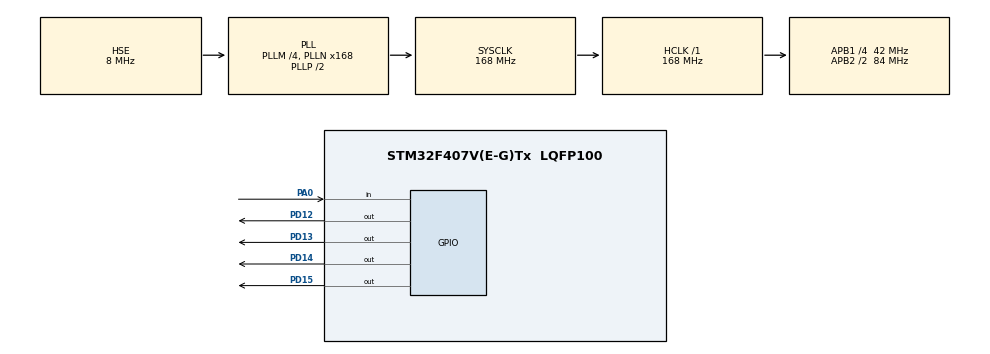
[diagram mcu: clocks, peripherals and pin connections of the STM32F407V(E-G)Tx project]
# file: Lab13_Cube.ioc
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Mcu.Family=STM32F4
Mcu.Name=STM32F407V(E-G)Tx
Mcu.Package=LQFP100
NVIC.PriorityGroup=NVIC_PRIORITYGROUP_4
PA0-WKUP.Signal=GPIO_Input
PD12.Signal=GPIO_Output
PD13.Signal=GPIO_Output
PD14.Signal=GPIO_Output
PD15.Signal=GPIO_Output
PH0-OSC_IN.Mode=HSE-External-Oscillator
PH0-OSC_IN.Signal=RCC_OSC_IN
PH1-OSC_OUT.Mode=HSE-External-Oscillator
PH1-OSC_OUT.Signal=RCC_OSC_OUT
ProjectManager.HeapSize=0x200
ProjectManager.StackSize=0x400
ProjectManager.TargetToolchain=MDK-ARM V4
RCC.48MHZClocksFreq_Value=48000000
RCC.AHBFreq_Value=168000000
RCC.APB1CLKDivider=RCC_HCLK_DIV4
RCC.APB1Freq_Value=42000000
RCC.APB1TimFreq_Value=84000000
RCC.APB2CLKDivider=RCC_HCLK_DIV2
RCC.APB2Freq_Value=84000000
RCC.APB2TimFreq_Value=168000000
RCC.CortexFreq_Value=168000000
RCC.HCLKFreq_Value=168000000
RCC.HSE_VALUE=8000000
RCC.HSI_VALUE=16000000
RCC.LSE_VALUE=32768
RCC.PLLM=4
RCC.PLLN=168
RCC.PLLQ=7
RCC.PLLSourceVirtual=RCC_PLLSOURCE_HSE
RCC.SYSCLKFreq_VALUE=168000000
RCC.SYSCLKSource=RCC_SYSCLKSOURCE_PLLCLK
RCC.VCOOutputFreq_Value=336000000
VP_RNG_VS_RNG.Mode=RNG_Activate
board=custom

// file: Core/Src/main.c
/* USER CODE BEGIN Header */
/**
  ******************************************************************************
  * @file           : main.c
  * @brief          : Main program body
  ******************************************************************************
  * @attention
  *
  * Copyright (c) 2023 STMicroelectronics.
  * All rights reserved.
  *
  * This software is licensed under terms that can be found in the LICENSE file
  * in the root directory of this software component.
  * If no LICENSE file comes with this software, it is provided AS-IS.
  *
  ******************************************************************************
  */
/* USER CODE END Header */
#include "main.h"

RNG_HandleTypeDef hrng;

/* USER CODE BEGIN PV */
uint8_t test = 0;
uint8_t test_out[3] = {0, 0, 0};
uint32_t get_result = 0;

/* USER CODE END PV */

void SystemClock_Config(void);
static void MX_GPIO_Init(void);
static void MX_RNG_Init(void);

int main(void)
{

  /* MCU Configuration--------------------------------------------------------*/

  /* Reset of all peripherals, Initializes the Flash interface and the Systick. */
  HAL_Init();

  /* Configure the system clock */
  SystemClock_Config();

  /* Initialize all configured peripherals */
  MX_GPIO_Init();
  MX_RNG_Init();

  /* Infinite loop */
  /* USER CODE BEGIN WHILE */
	lab13_test_ini();

  while (1)
  {
		test = lab13_while(test_out);
		HAL_Delay(1000);
		switch(test) {
				case 0:
				case 16:
					OFF_All_LEDs
					break;

				case 1:
					OFF_All_LEDs
					Green_ON
					break;

				case 2:
					OFF_All_LEDs
					Yellow_ON
					break;

				case 3:
					OFF_All_LEDs
					Green_ON
					Yellow_ON
					break;

				case 4:
					OFF_All_LEDs
					Red_ON
					break;

				case 5:
					OFF_All_LEDs
					Green_ON
				  Red_ON
					break;

				case 6:
					OFF_All_LEDs
					Yellow_ON
				  Red_ON
					break;

				case 7:
					OFF_All_LEDs
				  Green_ON
					Yellow_ON
				  Red_ON
					break;

				case 8:
					OFF_All_LEDs
					Blue_ON
					break;

				case 9:
					OFF_All_LEDs
				  Green_ON
					Blue_ON
					break;

				case 10:
					OFF_All_LEDs
				  Yellow_ON
				  Blue_ON
					break;

				case 11:
					OFF_All_LEDs
				  Green_ON
					Yellow_ON
				  Blue_ON
					break;

				case 12:
					OFF_All_LEDs
				  Red_ON
				  Blue_ON
					break;

				case 13:
					OFF_All_LEDs
				  Green_ON
					Red_ON
				  Blue_ON
					break;

				case 14:
					OFF_All_LEDs
				  Yellow_ON
					Red_ON
				  Blue_ON
					break;

				case 15:
					ON_All_LEDs
				  break;
			}

		get_result = lab13_get_result();

    /* USER CODE END WHILE */

  }
}

void SystemClock_Config(void)
{
  RCC_OscInitTypeDef RCC_OscInitStruct = {0};
  RCC_ClkInitTypeDef RCC_ClkInitStruct = {0};

  /** Configure the main internal regulator output voltage
  */
  __HAL_RCC_PWR_CLK_ENABLE();
  __HAL_PWR_VOLTAGESCALING_CONFIG(PWR_REGULATOR_VOLTAGE_SCALE1);

  /** Initializes the RCC Oscillators according to the specified parameters
  * in the RCC_OscInitTypeDef structure.
  */
  RCC_OscInitStruct.OscillatorType = RCC_OSCILLATORTYPE_HSE;
  RCC_OscInitStruct.HSEState = RCC_HSE_ON;
  RCC_OscInitStruct.PLL.PLLState = RCC_PLL_ON;
  RCC_OscInitStruct.PLL.PLLSource = RCC_PLLSOURCE_HSE;
  RCC_OscInitStruct.PLL.PLLM = 4;
  RCC_OscInitStruct.PLL.PLLN = 168;
  RCC_OscInitStruct.PLL.PLLP = RCC_PLLP_DIV2;
  RCC_OscInitStruct.PLL.PLLQ = 7;
  if (HAL_RCC_OscConfig(&RCC_OscInitStruct) != HAL_OK)
  {
    Error_Handler();
  }

  /** Initializes the CPU, AHB and APB buses clocks
  */
  RCC_ClkInitStruct.ClockType = RCC_CLOCKTYPE_HCLK|RCC_CLOCKTYPE_SYSCLK
                              |RCC_CLOCKTYPE_PCLK1|RCC_CLOCKTYPE_PCLK2;
  RCC_ClkInitStruct.SYSCLKSource = RCC_SYSCLKSOURCE_PLLCLK;
  RCC_ClkInitStruct.AHBCLKDivider = RCC_SYSCLK_DIV1;
  RCC_ClkInitStruct.APB1CLKDivider = RCC_HCLK_DIV4;
  RCC_ClkInitStruct.APB2CLKDivider = RCC_HCLK_DIV2;

  if (HAL_RCC_ClockConfig(&RCC_ClkInitStruct, FLASH_LATENCY_5) != HAL_OK)
  {
    Error_Handler();
  }
}

static void MX_RNG_Init(void)
{

  hrng.Instance = RNG;
  if (HAL_RNG_Init(&hrng) != HAL_OK)
  {
    Error_Handler();
  }

}

static void MX_GPIO_Init(void)
{
  GPIO_InitTypeDef GPIO_InitStruct = {0};

  /* GPIO Ports Clock Enable */
  __HAL_RCC_GPIOH_CLK_ENABLE();
  __HAL_RCC_GPIOA_CLK_ENABLE();
  __HAL_RCC_GPIOD_CLK_ENABLE();

  /*Configure GPIO pin Output Level */
  HAL_GPIO_WritePin(GPIOD, GPIO_PIN_12|GPIO_PIN_13|GPIO_PIN_14|GPIO_PIN_15, GPIO_PIN_RESET);

  /*Configure GPIO pin : PA0 */
  GPIO_InitStruct.Pin = GPIO_PIN_0;
  GPIO_InitStruct.Mode = GPIO_MODE_INPUT;
  GPIO_InitStruct.Pull = GPIO_NOPULL;
  HAL_GPIO_Init(GPIOA, &GPIO_InitStruct);

  /*Configure GPIO pins : PD12 PD13 PD14 PD15 */
  GPIO_InitStruct.Pin = GPIO_PIN_12|GPIO_PIN_13|GPIO_PIN_14|GPIO_PIN_15;
  GPIO_InitStruct.Mode = GPIO_MODE_OUTPUT_PP;
  GPIO_InitStruct.Pull = GPIO_NOPULL;
  GPIO_InitStruct.Speed = GPIO_SPEED_FREQ_LOW;
  HAL_GPIO_Init(GPIOD, &GPIO_InitStruct);

}

void Error_Handler(void)
{
  __disable_irq();
  while (1)
  {
  }
}
